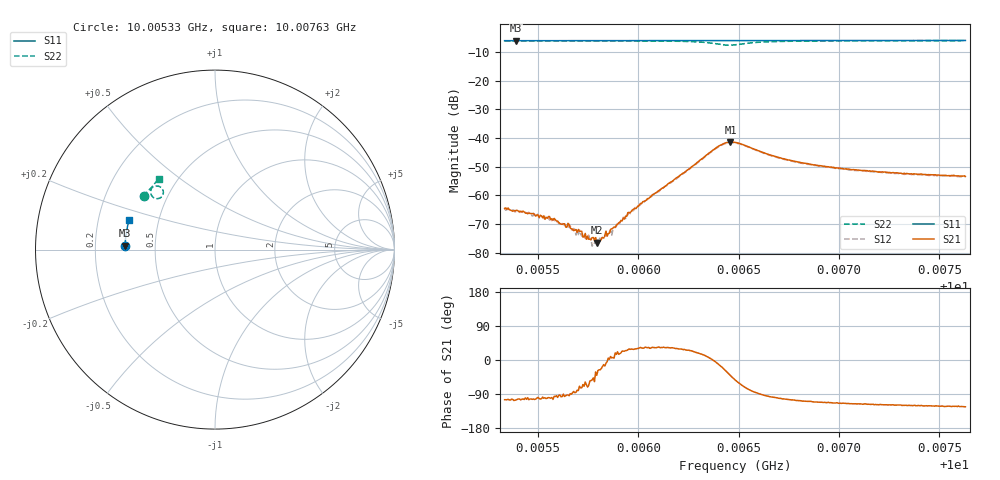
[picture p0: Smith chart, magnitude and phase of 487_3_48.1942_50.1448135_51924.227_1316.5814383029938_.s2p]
#  HZ  S  RI  R  50.00
! Rohde & Schwarz Vector Network Analyzer
! Rohde-Schwarz,ZNB20-2Port,1311601062101988,3.16
! Created: UTC 3/20/2024, 11:57:55 AM
! freq[Hz]  re:S11  im:S11  re:S21  im:S21  re:S12  im:S12  re:S22  im:S22
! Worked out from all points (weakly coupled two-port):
!   401 points, 10.00533 GHz to 10.00763 GHz, reference 50 ohm
!   highest |S21| = -41.37 dB at 10.00646 GHz (marker M1); lowest = -76.4 dB at 10.00579 GHz (marker M2)
!   lowest |S11| = -6.0 dB at 10.00539 GHz (marker M3), VSWR 3.01, Z = 16.6 + j0.994 ohm
!   |S11| at or under -10 dB: nowhere
!   |S22| runs from -7.6 to -6.0 dB; largest |S21 - S12| = 0.00055
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1.0005334e10  -0.5005 0.0186  -0.000152 -0.000575  -0.000123 -0.000566  -0.3972 0.2967
1.0005391e10  -0.5002 0.0224  -0.000147 -0.00053  -0.000109 -0.000517  -0.3949 0.3003
1.0005569e10  -0.5001 0.0341  -6.08e-05 -0.000389  -2.59e-05 -0.000363  -0.3873 0.3107
1.000565e10  -0.4999 0.0392  -1.22e-05 -0.000327  2.13e-05 -0.000308  -0.3835 0.3157
1.0005678e10  -0.4999 0.0411  3.01e-05 -0.000242  1.42e-05 -0.000266  -0.3819 0.3173
1.0005718e10  -0.4996 0.0437  6.87e-05 -0.000227  6.64e-05 -0.000183  -0.38 0.3198
1.000573e10  -0.4996 0.0444  6.72e-05 -0.000179  5.6e-05 -0.000184  -0.3794 0.3205
1.0005753e10  -0.4995 0.0461  6.63e-05 -0.000159  0.000113 -0.00017  -0.3784 0.3218
1.000577e10  -0.4994 0.0471  0.000113 -0.000147  9.45e-05 -9.02e-05  -0.3774 0.323
1.0005793e10  -0.4995 0.0485  0.000115 -9.76e-05  0.000147 -0.000107  -0.3761 0.3244
1.0005816e10  -0.4992 0.0501  0.000159 -6.5e-05  0.000179 -3.18e-05  -0.3748 0.3259
1.0005879e10  -0.4989 0.0542  0.000281 2.5e-05  0.00025 9.92e-05  -0.3709 0.3299
1.0005902e10  -0.4989 0.0556  0.000321 8.61e-05  0.000312 0.000115  -0.3696 0.3315
1.0005988e10  -0.4983 0.0613  0.000515 0.000288  0.000526 0.000331  -0.3637 0.3373
1.0006103e10  -0.4975 0.0686  0.00101 0.000686  0.000922 0.000711  -0.3535 0.3451
1.000639e10  -0.4945 0.0871  0.00681 -0.000851  0.00668 -0.000462  -0.2903 0.3319
1.0006459e10  -0.4938 0.0909  0.00645 -0.0056  0.00663 -0.00508  -0.301 0.291
1.0006482e10  -0.4939 0.0922  0.00515 -0.0067  0.00542 -0.00624  -0.3146 0.2845
1.0006683e10  -0.4924 0.1051  -0.000765 -0.00474  -0.000509 -0.00467  -0.3579 0.3258
1.0006866e10  -0.4902 0.1169  -0.00119 -0.00325  -0.000997 -0.00325  -0.3503 0.349
1.0007251e10  -0.4845 0.1412  -0.0012 -0.00222  -0.00107 -0.00221  -0.3299 0.3756
1.000763e10  -0.478 0.1647  -0.00119 -0.0018  -0.00105 -0.00185  -0.3104 0.3951
